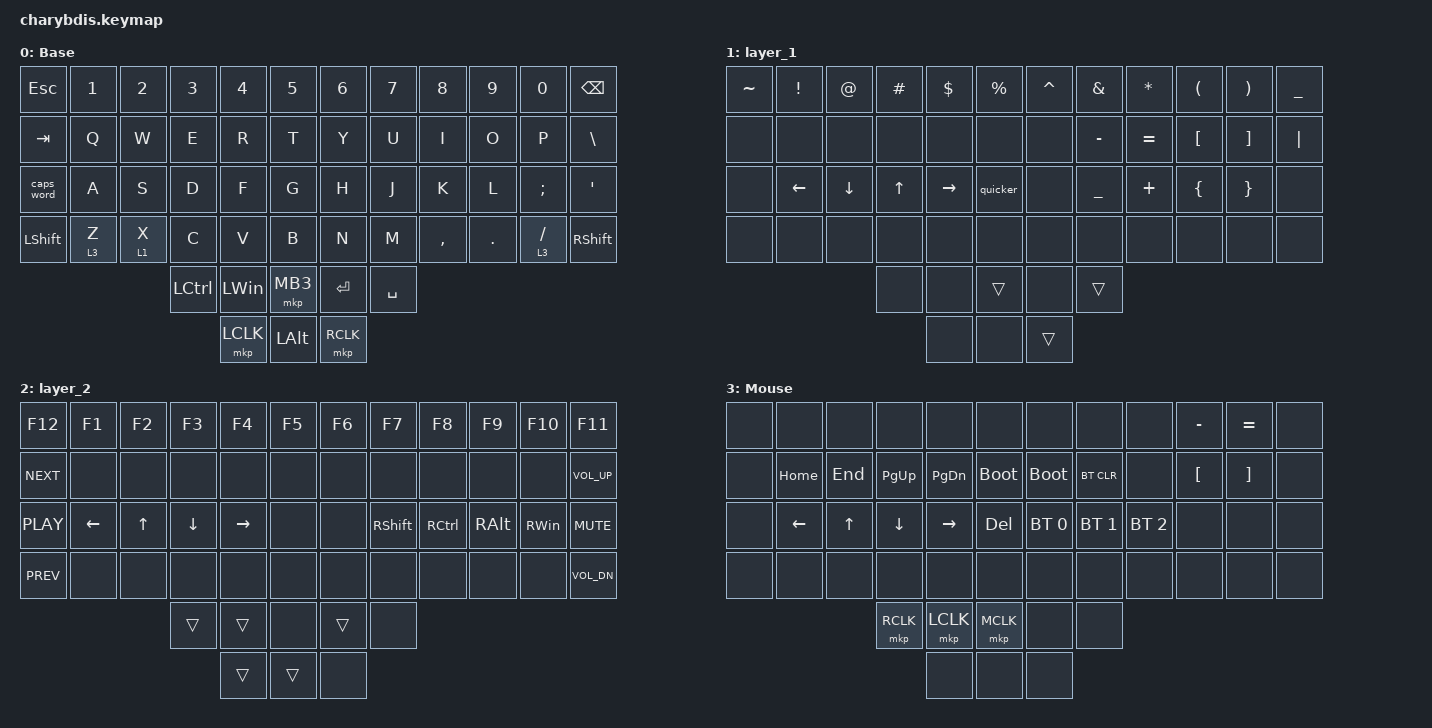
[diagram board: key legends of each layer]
#include <behaviors/mouse_keys.dtsi>
#include <behaviors.dtsi>
#include <dt-bindings/zmk/bt.h>
#include <dt-bindings/zmk/keys.h>
#include <dt-bindings/zmk/mouse.h>

&lt {
    tapping-term-ms = <240>;
    flavor = "tap-preferred";
    quick-tap-ms = <150>;
    require-prior-idle-ms = <10>;
};

&mt {
    tapping-term-ms = <250>;
    flavor = "tap-preferred";
    require-prior-idle-ms = <250>;
};

/ {
    combos {
        compatible = "zmk,combos";

        scroll {
            bindings = <&mo 0>;
            key-positions = <31 32 33>;
        };
    };

    behaviors {
        Shift_Enter: Shift_Enter {
            compatible = "zmk,behavior-hold-tap";
            label = "SHIFT_ENTER";
            bindings = <&kp>, <&kp>;

            #binding-cells = <2>;
            hold-trigger-key-positions = <34>;
            tapping-term-ms = <100>;
        };
    };

    macros {
        quicker: quicker {
            compatible = "zmk,behavior-macro";
            #binding-cells = <0>;
            bindings = <&kp LEFT_CONTROL &kp LCTRL>, <&macro_press>;

            label = "QUICKER";
        };
    };

    keymap {
        compatible = "zmk,keymap";

        Base {
            bindings = <
&kp ESC         &kp N1   &kp N2   &kp N3     &kp N4        &kp N5          &kp N6     &kp N7     &kp N8     &kp N9      &kp N0       &kp BSPC
&kp TAB         &kp Q    &kp W    &kp E      &kp R         &kp T           &kp Y      &kp U      &kp I      &kp O       &kp P        &kp BSLH
&caps_word      &kp A    &kp S    &kp D      &kp F         &kp G           &kp H      &kp J      &kp K      &kp L       &kp SEMI     &kp APOS
&kp LEFT_SHIFT  &lt 3 Z  &lt 1 X  &kp C      &kp V         &kp B           &kp N      &kp M      &kp COMMA  &kp PERIOD  &lt 3 SLASH  &kp RSHFT
                                  &kp LCTRL  &kp LEFT_WIN  &mkp MB3        &kp ENTER  &kp SPACE
                                             &mkp LCLK     &kp LEFT_ALT    &mkp RCLK
            >;
        };

        layer_1 {
            bindings = <
&kp TILDE  &kp EXCLAMATION  &kp AT_SIGN  &kp HASH      &kp DOLLAR  &kp PERCENT    &kp CARET  &kp AMPERSAND   &kp ASTERISK  &kp LEFT_PARENTHESIS  &kp RIGHT_PARENTHESIS  &kp UNDERSCORE
&none      &none            &none        &none         &none       &none          &none      &kp MINUS       &kp EQUAL     &kp LBKT              &kp RBKT               &kp PIPE
&none      &kp LEFT         &kp DOWN     &kp UP_ARROW  &kp RIGHT   &quicker       &none      &kp UNDERSCORE  &kp PLUS      &kp LEFT_BRACE        &kp RIGHT_BRACE        &none
&none      &none            &none        &none         &none       &none          &none      &none           &none         &none                 &none                  &none
                                         &none         &none       &trans         &none      &trans
                                                       &none       &none          &trans
            >;
        };

        layer_2 {
            bindings = <
&kp F12     &kp F1    &kp F2        &kp F3          &kp F4           &kp F5    &kp F6  &kp F7           &kp F8     &kp F9         &kp F10        &kp F11
&kp C_NEXT  &none     &none         &none           &none            &none     &none   &none            &none      &none          &none          &kp C_VOL_UP
&kp C_PLAY  &kp LEFT  &kp UP_ARROW  &kp DOWN_ARROW  &kp RIGHT_ARROW  &none     &none   &kp RIGHT_SHIFT  &kp RCTRL  &kp RIGHT_ALT  &kp RIGHT_WIN  &kp K_MUTE
&kp C_PREV  &none     &none         &none           &none            &none     &none   &none            &none      &none          &none          &kp C_VOL_DN
                                    &trans          &trans           &none     &trans  &none
                                                    &trans           &trans    &none
            >;
        };

        Mouse {
            bindings = <
&none  &none     &none         &none           &none          &none          &none         &none         &none         &kp MINUS         &kp EQUAL          &none
&none  &kp HOME  &kp END       &kp PAGE_UP     &kp PAGE_DOWN  &bootloader    &bootloader   &bt BT_CLR    &none         &kp LEFT_BRACKET  &kp RIGHT_BRACKET  &none
&none  &kp LEFT  &kp UP_ARROW  &kp DOWN_ARROW  &kp RIGHT      &kp DELETE     &bt BT_SEL 0  &bt BT_SEL 1  &bt BT_SEL 2  &none             &none              &none
&none  &none     &none         &none           &none          &none          &none         &none         &none         &none             &none              &none
                               &mkp RCLK       &mkp LCLK      &mkp MCLK      &none         &none
                                               &none          &none          &none
            >;
        };
    };
};
